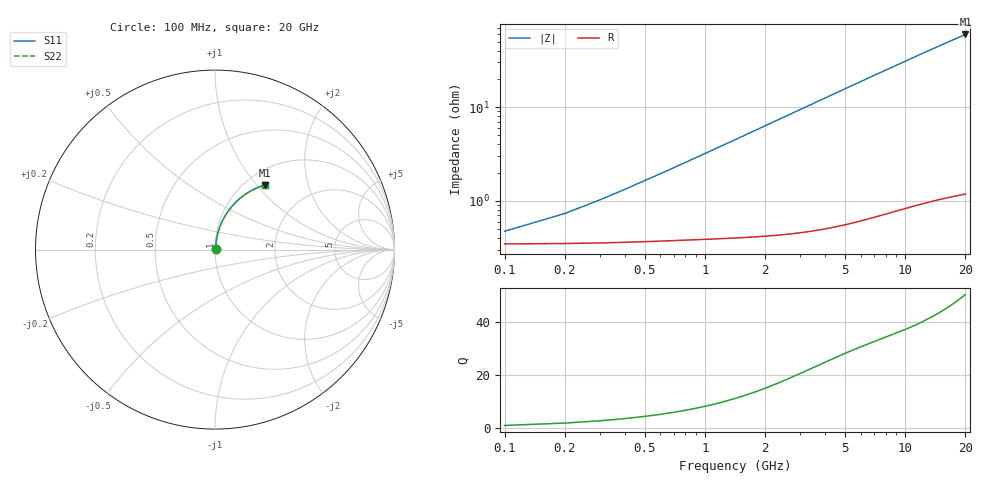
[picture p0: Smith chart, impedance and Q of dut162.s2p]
! Touchstone file exported from HFSS 2026.1.0
!  File:  C:/ffzhzh/LocalFiles/Ansys_Project_Files/temp_train_TMRDL_162_1782983330_41620.aedt
!  Generated:  05:10:04 PM Jul  2, 2026
!  Design:  TMRDL
!  Project:  temp_train_TMRDL_162_1782983330_41620
! Variables:
!  h_bsmrdl = 2um
!  h_ox = 20um
!  h_rdl = 5um
!  h_sub = 80um
!  h_tmrdl = 3.89um
!  h_tsv = 80um
!  h_via = 3um
!  l_bsmrdl = 300um
!  l_sub = 813.44um
!  l_tmrdl = 413.44um
!  m_sub = 200um
!  pitch = 58.52um
!  r_tsv = 6um
!  s_tmrdl = 10um
!  w_bsmrdl = 18um
!  w_sub = 500um
!  w_tmrdl = 11.11um
!  x_tsv_center1 = 418.995um
!  x_tsv_center2 = 736.995um
!  x_tsv_center3 = 1161.545um
!  x_tsv_center4 = 1479.545um
!  x_tsv_center5 = 1904.095um
!  x_tsv_center6 = 2222.095um
# GHz S MA R 50.000000
! Terminal data exported
! Port[1] = TM_RDL1_1_T1
! Port[2] = TM_RDL1_1_T2
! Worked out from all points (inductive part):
!   200 points, 100 MHz to 20 GHz, reference 50 ohm
!   read as one part in series: L = 508 pH near 400 MHz
!   highest Q = 50.5 at 20 GHz (marker M1), where L = 474 pH
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0.1  0.004457 38.9  0.9965 -0.2  0.9965 -0.2  0.004457 38.9
! Gamma 0 0 0 0
! Port Impedance 50 0 50 0
0.2  0.006612 57.7  0.9965 -0.4  0.9965 -0.4  0.006612 57.7
0.3  0.009116 66.5  0.9964 -0.6  0.9964 -0.6  0.009116 66.5
0.4  0.01173 71.3  0.9963 -0.8  0.9963 -0.8  0.01173 71.3
0.5  0.01439 74.3  0.9963 -1.0  0.9963 -1.0  0.01439 74.3
0.6  0.01706 76.2  0.9962 -1.2  0.9962 -1.2  0.01706 76.2
0.8  0.02244 78.6  0.996 -1.6  0.996 -1.6  0.02244 78.6
1.1  0.03053 80.4  0.9956 -2.2  0.9956 -2.2  0.03053 80.4
1.5  0.04134 81.4  0.9951 -3.0  0.9951 -3.0  0.04134 81.4
1.8  0.04945 81.6  0.9947 -3.7  0.9947 -3.7  0.04945 81.6
2.1  0.05755 81.5  0.9942 -4.3  0.9942 -4.3  0.05755 81.5
2.7  0.0737 81.1  0.9929 -5.5  0.9929 -5.5  0.0737 81.1
3.5  0.09508 80.1  0.9907 -7.1  0.9907 -7.1  0.09508 80.1
4.2  0.1136 79.0  0.9885 -8.5  0.9885 -8.5  0.1136 79.0
5  0.1345 77.6  0.9855 -10.0  0.9855 -10.0  0.1345 77.6
5.9  0.1577 76.1  0.9816 -11.8  0.9816 -11.8  0.1577 76.1
6.8  0.1804 74.4  0.9772 -13.5  0.9772 -13.5  0.1804 74.4
8.3  0.2173 71.7  0.969 -16.4  0.969 -16.4  0.2173 71.7
10.1  0.2598 68.5  0.9577 -19.7  0.9577 -19.7  0.2598 68.5
13.4  0.3324 62.8  0.934 -25.6  0.934 -25.6  0.3324 62.8
16.7  0.3977 57.4  0.9076 -31.2  0.9076 -31.2  0.3977 57.4
20  0.4556 52.2  0.8798 -36.5  0.8798 -36.5  0.4556 52.2
